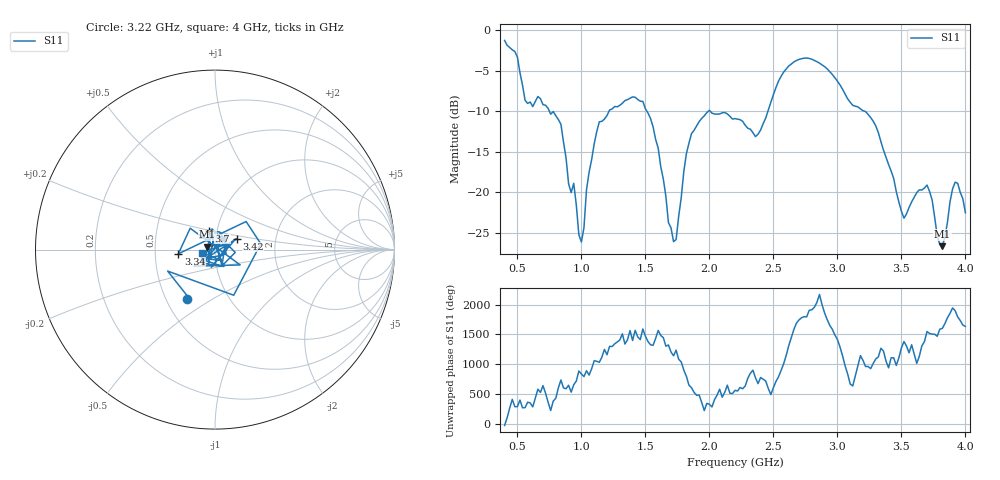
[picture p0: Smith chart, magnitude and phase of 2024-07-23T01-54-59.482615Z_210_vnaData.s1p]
!Created with skrf (http://scikit-rf.org).
# Hz S RI R 50.0
!freq ReS11 ImS11
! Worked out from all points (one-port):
!   181 points, 400 MHz to 4 GHz, reference 50 ohm
!   lowest |S11| = -26.6 dB at 3.82 GHz (marker M1), VSWR 1.10, Z = 45.8 + j1.48 ohm
!   |S11| at or under -10 dB: 750.3 MHz to 1.215 GHz (465 MHz wide, 47.3 % of centre); 1.512 GHz to 1.991 GHz (478.6 MHz wide, 27.3 % of centre); 3.215 GHz to end of sweep (the widest 3 of 4)
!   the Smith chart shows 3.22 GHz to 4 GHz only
!   S11 on the Smith chart (normalised r, x): 3.22 GHz: 0.64, -0.39; 3.34 GHz: 0.66, -0.03; 3.42 GHz: 1.26, +0.16; 3.7 GHz: 0.92, +0.20; 4 GHz: 0.86, -0.03
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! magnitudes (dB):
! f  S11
! 400 MHz  -1.3
! 500 MHz  -3.3
! 560 MHz  -8.6
! 780 MHz  -10.0
! 860 MHz  -13.8
! 1 GHz  -26.1
! 1.06 GHz  -17.5
! 1.14 GHz  -11.3
! 1.3 GHz  -9.3
! 1.48 GHz  -8.8
! 1.6 GHz  -14.5
! 1.72 GHz  -26.1
! 1.76 GHz  -22.9
! 1.86 GHz  -12.7
! 2.2 GHz  -10.9
! 2.38 GHz  -12.8
! 2.66 GHz  -3.9
! 2.9 GHz  -4.5
! 3.1 GHz  -8.9
! 3.22 GHz  -10.0
! 3.34 GHz  -13.7
! 3.42 GHz  -17.4
! 3.52 GHz  -23.2
! 3.56 GHz  -21.9
! 3.7 GHz  -19.1
! 3.82 GHz  -26.6
! 3.92 GHz  -18.7
! 4 GHz  -22.5
